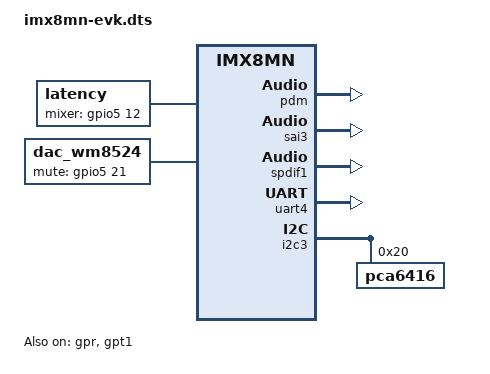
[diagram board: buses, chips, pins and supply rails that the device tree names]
/dts-v1/;

#include "imx8mn.dtsi"
#include <iomux.h>

#define GPIO_DESC_REQUESTED         1
#define GPIO_DESC_OUTPUT            2
#define GPIO_DESC_INPUT             4
#define GPIO_DESC_ACTIVE_LOW        8
#define GPIO_DESC_OUTPUT_ACTIVE     16

/ {
    compatible = "nxp,imx8mnevk,rev1";
    #address-cells = < 0x02 >;
    #size-cells = < 0x02 >;

    enable-gpio = < &pca6416 1 0>;

    latency {
        compatible = "latency";
        event-names = "mixer";
        event-ids = <6000>;
        mixer-gpio = <&gpio5 12 0>;

        status = "ok";
    };

    aliases {
        console = &uart4;
    };

    meminfo {
        /*
         * DRAM is 512MiB address space at PA 0x93c00000
         * - 508 MiB for AF LK usage (512 MiB - 4 MiB)
         * - 4 MiB for DB blob
         */
        phys_start = < 0x93c00000 >;
        size = < 0x1fc00000 >; /* 508 MiB */

        phys_db_offset = < 0x1fc00000 >; /* 508 MiB */
    };

    ivshmem:ivshmem {
        pci_cfg = < 0xbb800000 0x100000 >; /* Base address, size */
    };

    jailhouse:jailhouse {
        comm_region = < 0x60000000 0x1000 >;
        /* Following not used on ABI revision 2 */
        pci_region = < 0xbb800000 0x100000 >;
        irq = < 156 >;
    };

    rpmsg-wd {
        compatible = "imx_ivshm_binary";
        size = <0x200>; /* Endpoint buffer 512B */
        buffer_bytes = <0x200>; /* binary buffer 512B */
        id = <0x202>;
        status = "ok";
    };

    lktraces {
        compatible = "imx_ivshm_binary";
        size = <0x200>; /* Endpoint buffer 512B */
        buffer_bytes = <0x200>; /* binary buffer size 512B */
        id = <0x200>;
        status = "disabled";
    };

    wm8524 {
        compatible = "dac_wm8524";
        bus-id = < 1 >;
        mute-gpio = <&gpio5 21 0>;
        status = "ok";
    };
};

&gpr {
    status = "ok";

    init = < 2 0x0 6 0x0 7 0x0 8 0x0f0f0000 >;
};

&gpio5 {
    status = "ok";
    ngpios = <30>;
    pinctrl-names = "IO0", "IO1", "IO2", "IO3", "IO4", "IO5", "IO6", "IO7",
        "IO8", "IO9", "IO10", "IO11", "IO12", "IO13", "IO14", "IO15", "IO16",
        "IO17", "IO18", "IO19", "IO20", "IO21", "IO22", "IO23", "IO24", "IO25",
        "IO26", "IO27", "IO28", "IO29";
    pinctrl-0  = < IOMUXC_SAI3_TXC_GPIO5_IO00       1 0>;
    pinctrl-1  = < IOMUXC_SAI3_TXD_GPIO5_IO01       1 0>;
    pinctrl-2  = < IOMUXC_SAI3_MCLK_GPIO5_IO02      1 0>;
    pinctrl-3  = < IOMUXC_SPDIF_TX_GPIO5_IO03       1 0>;
    pinctrl-4  = < IOMUXC_SPDIF_RX_GPIO5_IO04       1 0>;
    pinctrl-5  = < IOMUXC_SPDIF_EXT_CLK_GPIO5_IO05  1 0>;
    pinctrl-6  = < IOMUXC_ECSPI1_SCLK_GPIO5_IO06    1 0>;
    pinctrl-7  = < IOMUXC_ECSPI1_MOSI_GPIO5_IO07    1 0>;
    pinctrl-8  = < IOMUXC_ECSPI1_MISO_GPIO5_IO08    1 0>;
    pinctrl-9  = < IOMUXC_ECSPI1_SS0_GPIO5_IO09     1 0>;
    pinctrl-10 = < IOMUXC_ECSPI2_SCLK_GPIO5_IO10    1 0>;
    pinctrl-11 = < IOMUXC_ECSPI2_MOSI_GPIO5_IO11    1 0>;
    pinctrl-12 = < IOMUXC_ECSPI2_MISO_GPIO5_IO12    1 0>;
    pinctrl-13 = < IOMUXC_ECSPI2_SS0_GPIO5_IO13     1 0>;
    pinctrl-14 = < IOMUXC_I2C1_SCL_GPIO5_IO14       1 0>;
    pinctrl-15 = < IOMUXC_I2C1_SDA_GPIO5_IO15       1 0>;
    pinctrl-16 = < IOMUXC_I2C2_SCL_GPIO5_IO16       1 0>;
    pinctrl-17 = < IOMUXC_I2C2_SDA_GPIO5_IO17       1 0>;
    pinctrl-18 = < IOMUXC_I2C3_SCL_GPIO5_IO18       1 0>;
    pinctrl-19 = < IOMUXC_I2C3_SDA_GPIO5_IO19       1 0>;
    pinctrl-20 = < IOMUXC_I2C4_SCL_GPIO5_IO20       1 0>;
    pinctrl-21 = < IOMUXC_I2C4_SDA_GPIO5_IO21       1 0>;
    pinctrl-22 = < IOMUXC_UART1_RXD_GPIO5_IO22      1 0>;
    pinctrl-23 = < IOMUXC_UART1_TXD_GPIO5_IO23      1 0>;
    pinctrl-24 = < IOMUXC_UART2_RXD_GPIO5_IO24      1 0>;
    pinctrl-25 = < IOMUXC_UART2_TXD_GPIO5_IO25      1 0>;
    pinctrl-26 = < IOMUXC_UART3_RXD_GPIO5_IO26      1 0>;
    pinctrl-27 = < IOMUXC_UART3_TXD_GPIO5_IO27      1 0>;
    pinctrl-28 = < IOMUXC_UART4_RXD_GPIO5_IO28      1 0>;
    pinctrl-29 = < IOMUXC_UART4_TXD_GPIO5_IO29      1 0>;
};

&pdm {
    clock-cfg = <
        kCLOCK_Idx_RootPdm kCLOCK_PdmRootmuxAudioPll1 1 16 kCLOCK_Pdm 24576000
    >;
};

&sdma3 {
    status = "ok";
    #include "sdma-fw.dtsi"
};

&sai2 {
    status = "disabled";

    pinctrl-names = "default";
    pinctrl-0 = <
        IOMUXC_SAI2_MCLK_SAI2_MCLK      0   0x8A
        IOMUXC_SAI2_RXC_SAI2_RX_BCLK    0   0x8A
        IOMUXC_SAI2_RXD0_SAI2_RX_DATA0  0   0x8A
        IOMUXC_SAI2_RXFS_SAI2_RX_DATA1  0   0x8A
        IOMUXC_SAI2_RXFS_SAI2_RX_SYNC   0   0x8A
    >;
};

&sai3 {
    status = "ok";

    disable-dma-rx;
    pinctrl-names = "default";
    pinctrl-0 = <
        IOMUXC_SAI3_MCLK_SAI3_MCLK      0   0x8A
        IOMUXC_SAI3_TXC_SAI3_TX_BCLK    0   0x8A
        IOMUXC_SAI3_TXD_SAI3_TX_DATA0   0   0x8A
        IOMUXC_SAI3_TXFS_SAI3_TX_SYNC   0   0x8A
    >;

    /* SAI3 uses single fifo, so peripheral type for normal */
    dmas = <&sdma3 SDMA_REQ_SAI3_RX SDMA_PERIPHERAL_TYPE_NORMAL 2>,
           <&sdma3 SDMA_REQ_SAI3_TX SDMA_PERIPHERAL_TYPE_NORMAL 2>;

    /* bit clock polarity (0: active high, 1 active low,
     * other keep default according to i2s format) */
    tx,bcp = < 1 >;
    /* mclk source selection (0: bus clock, 1: MCLK1, 2: MCLK2, 3: MCLK3 */
    tx,mclk-select = < 1 >;
    /* mclk set as an output */
    mclk,is-output = < 1 >;

    disable-dma-tx;
};

&sai5 {
    status = "disabled";

    pinctrl-names = "default";
    pinctrl-0 = <
        IOMUXC_SAI5_MCLK_SAI5_MCLK      0   0x8A
        IOMUXC_SAI5_RXC_SAI5_RX_BCLK    0   0x8A
        IOMUXC_SAI5_RXD0_SAI5_RX_DATA0  0   0x8A
        IOMUXC_SAI5_RXD1_SAI5_RX_DATA1  0   0x8A
        IOMUXC_SAI5_RXD2_SAI5_RX_DATA2  0   0x8A
        IOMUXC_SAI5_RXD3_SAI5_RX_DATA3  0   0x8A
        IOMUXC_SAI5_RXFS_SAI5_RX_SYNC   0   0x8A
    >;

    /* bit clock polarity (0: active high, 1 active low,
     * other keep default according to i2s format) */
    rx,bcp = < 1 >;
    tx,bcp = < 1 >;
    /* mclk source selection (0: bus clock, 1: MCLK1, 2: MCLK2, 3: MCLK3 */
    rx,mclk-select = < 1 >;
    tx,mclk-select = < 1 >;

    disable-dma-tx;
    disable-dma-rx;

    /* mclk set as an output */
    mclk,is-output = < 1 >;
};

&sai6 {
    is-dummy;
    status = "disabled";
    rx,mclk-select = < 2 >;
    tx,mclk-select = < 2 >;
};

&spdif1 {
    status = "ok";
    dma-period-length = <2048>;
    dma-nr-period = <4>;

    pinctrl-names = "default";
    pinctrl-0 = <
        IOMUXC_SPDIF_RX_SPDIF1_IN           0   0x196
        IOMUXC_SPDIF_TX_SPDIF1_OUT          0   0
        IOMUXC_SPDIF_EXT_CLK_SPDIF1_EXT_CLK 0   0
    >;
};

&gpt1 {
    status = "ok";

    pinctrl-names = "default";
    pinctrl-0 = <
        IOMUXC_SAI3_RXFS_GPT1_CAPTURE1          0   0x100
    >;
};

&uart4 {
    status = "ok";

    pinctrl-names = "default";
    pinctrl-0 = <
        IOMUXC_UART4_TXD_UART4_TX 0 0x16
        IOMUXC_UART4_RXD_UART4_RX 0 0x16
    >;
};

&pdm {
    status = "ok";
    pinctrl-names = "default";
    pinctrl-0 = <
        IOMUXC_SAI5_RXC_PDM_CLK             0   0x8A
        IOMUXC_SAI5_RXD0_PDM_BIT_STREAM0    0   0x8A
        IOMUXC_SAI5_RXD1_PDM_BIT_STREAM1    0   0x8A
        IOMUXC_SAI5_RXD2_PDM_BIT_STREAM2    0   0x8A
        IOMUXC_SAI5_RXD3_PDM_BIT_STREAM3    0   0x8A
    >;
    quality-mode = <6>; /* QSEL for quality mode */
    out-gain = <5>;
};

&i2c3 {
    status = "ok";
    pinctrl-names = "default";
    pinctrl-0 = <
        IOMUXC_I2C3_SCL_I2C3_SCL 1 0x86
        IOMUXC_I2C3_SDA_I2C3_SDA 1 0x86
    >;

    pca6416: pca6416@20 {
        compatible = "pca6416";
        gpio-controller;
        #gpio-cells = < 2 >;

        reg = < 0x20 >;
        reg-names = "core";

        interrupts = <96>;
        interrupt-names = "core";

        pinctrl-names = "default";
        pinctrl-0 = <
            IOMUXC_GPIO1_IO12_GPIO1_IO12 1 0x140
        >;

        status = "ok";
        /* TODO: Add GPIO definition */
    };
};
